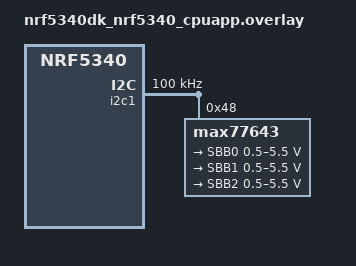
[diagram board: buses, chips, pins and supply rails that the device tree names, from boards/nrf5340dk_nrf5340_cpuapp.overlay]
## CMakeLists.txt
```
# SPDX-License-Identifier: Apache-2.0

cmake_minimum_required(VERSION 3.20.0)

find_package(Zephyr REQUIRED HINTS $ENV{ZEPHYR_BASE})
project(hello_world_1)

target_sources(app PRIVATE 
    src/max77643.c
    src/main.c
)




target_include_directories(app PRIVATE
    src
    ${ZEPHYR_BASE}/include
    ${ZEPHYR_BASE}/drivers
)

zephyr_library_include_directories(${ZEPHYR_BASE}/include)
zephyr_library_include_directories(${ZEPHYR_BASE}/drivers)
```

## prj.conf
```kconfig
# nothing here
CONFIG_I2C=y
CONFIG_PRINTK=y
CONFIG_LOG=y
CONFIG_LOG_DEFAULT_LEVEL=3
CONFIG_SERIAL=y
CONFIG_CBPRINTF_FP_SUPPORT=y
```

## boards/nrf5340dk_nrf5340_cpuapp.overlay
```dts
&i2c1 {
    status = "okay";
    compatible = "nordic,nrf-twim";
    clock-frequency = <I2C_BITRATE_STANDARD>;
    pinctrl-0 = <&i2c1_default>;
    pinctrl-1 = <&i2c1_sleep>;
    pinctrl-names = "default", "sleep";

    max77643: max77643@48 {
        reg = <0x48>;
        status = "okay";
        regulators {
            compatible = "adi,max77643-regulator";
            SBB0 {
                regulator-boot-on;
                regulator-min-microvolt = <500000>;   // 0.5V
                regulator-max-microvolt = <5500000>;  // 5.5V
            };
            SBB1 {
                regulator-boot-on;
                regulator-min-microvolt = <500000>;   // 0.5V
                regulator-max-microvolt = <5500000>;  // 5.5V
            };
            SBB2 {
                regulator-boot-on;
                regulator-min-microvolt = <500000>;   // 0.5V
                regulator-max-microvolt = <5500000>;  // 5.5V
            };
        };
    };
};
```

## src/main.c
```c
#include <zephyr/kernel.h>
#include <zephyr/device.h>
#include <zephyr/drivers/i2c.h>
#include "max77643.h"

// 从设备树获取I2C配置
#define MAX77643_NODE DT_NODELABEL(max77643)
static const struct i2c_dt_spec dev_max77643 = I2C_DT_SPEC_GET(MAX77643_NODE);

int main(void) {
    max77643_t device;  // MAX77643设备结构体
    int ret;            // 返回值，用于错误检查

    // 初始化MAX77643设备
    while(true){
        ret = max77643_init(&device, &dev_max77643, 0);  // 0表示不使用中断引脚
        if (ret != MAX77643_NO_ERROR) {
            printk("MAX77643初始化失败: %d\n", ret);
            return ret;
        }
        printk("MAX77643 initialized successfully\n");
        // 设置SBB0电压为3V
        ret = max77643_set_tv_sbb(&device, 0, 1.5f);  // 通道0，电压3.0V
        if (ret == MAX77643_NO_ERROR) {
            printk("SBB0电压已设置为3.0V\n");
            break;
        } else {
            printk("set SBB0 output 3V failure: %d\n", ret);
        }
        k_sleep(K_MSEC(100));
    }
    printk("SBB0 set successfully\n");
    return 0;
}
```

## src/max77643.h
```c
#ifndef MAX77643_H
#define MAX77643_H

#include <zephyr/device.h>
#include <zephyr/drivers/i2c.h>
#include <stdint.h>

// 错误码定义
#define MAX77643_NO_ERROR          0
#define MAX77643_VALUE_NULL       -1
#define MAX77643_WRITE_DATA_FAILED -2
#define MAX77643_READ_DATA_FAILED  -3
#define MAX77643_INVALID_DATA     -4

// I2C 地址
#define MAX77643_I2C_ADDRESS       0x90

// 设备结构体
typedef struct {
    const struct i2c_dt_spec *i2c_spec;  // I2C 设备规范
    uint32_t irq_pin;                    // 中断引脚（可选）
} max77643_t;

// 寄存器地址枚举（从 MAX77643_2.h 转换）
typedef enum {
    INT_GLBL0     = 0x00,  // 中断状态 0
    INT_GLBL1     = 0x01,  // 中断状态 1
    ERCFLAG       = 0x02,  // 事件记录标志
    STAT_GLBL     = 0x03,  // 全局状态
    INTM_GLBL0    = 0x04,  // 中断掩码 0
    INTM_GLBL1    = 0x05,  // 中断掩码 1
    CNFG_GLBL0    = 0x06,  // 全局配置 0
    CNFG_GLBL1    = 0x07,  // 全局配置 1
    CNFG_GPIO0    = 0x08,  // GPIO0 配置
    CNFG_GPIO1    = 0x09,  // GPIO1 配置
    CID           = 0x10,  // 芯片识别码
    CNFG_WDT      = 0x17,  // 看门狗定时器配置
    CNFG_SBB_TOP  = 0x28,  // SIMO Buck-Boost 配置
    CNFG_SBB0_A   = 0x29,  // SIMO Buck-Boost 0 配置 A
    CNFG_SBB0_B   = 0x2A,  // SIMO Buck-Boost 0 配置 B
    CNFG_SBB1_A   = 0x2B,  // SIMO Buck-Boost 1 配置 A
    CNFG_SBB1_B   = 0x2C,  // SIMO Buck-Boost 1 配置 B
    CNFG_SBB2_A   = 0x2D,  // SIMO Buck-Boost 2 配置 A
    CNFG_SBB2_B   = 0x2E,  // SIMO Buck-Boost 2 配置 B
    CNFG_DVS_SBB0_A = 0x2F,// SIMO Buck-Boost 0 DVS 配置 A
    CNFG_LDO0_A   = 0x38,  // LDO0 输出电压
    CNFG_LDO0_B   = 0x39   // LDO0 输出电压配置
} max77643_reg_t;

// 从 MAX77643_2.h 转换的枚举类型
typedef enum {
    INT_GLBL0_GPI0_F, INT_GLBL0_GPI0_R, INT_GLBL0_NEN_F, INT_GLBL0_NEN_R,
    INT_GLBL0_TJAL1_R, INT_GLBL0_TJAL2_R, INT_GLBL0_DOD_R, INT_GLBL0_RSVD,
    INT_GLBL1_GPI1_F, INT_GLBL1_GPI1_R, INT_GLBL1_SBB0_F, INT_GLBL1_SBB1_F,
    INT_GLBL1_SBB2_F, INT_GLBL1_LDO_F, INT_GLBL1_RSVD, INT_CHG_END
} reg_bit_int_glbl_t;

typedef enum {
    ERCFLAG_TOVLD, ERCFLAG_INOVLO, ERCFLAG_INUVLO, ERCFLAG_MRST_F,
    ERCFLAG_SFT_OFF_F, ERCFLAG_SFT_CRST_F, ERCFLAG_WDT_EXP_F, ERCFLAG_SBB_FAULT_F
} reg_bit_ercflag_t;

typedef enum {
    STAT_GLBL_STAT_IRQ, STAT_GLBL_STAT_EN, STAT_GLBL_TJAL1_S, STAT_GLBL_TJAL2_S,
    STAT_GLBL_DOD_S, STAT_GLBL_RSVD, STAT_GLBL_BOK, STAT_GLBL_DIDM
} reg_bit_stat_glbl_t;

typedef enum {
    INTM_GLBL0_GPI0_FM, INTM_GLBL0_GPI0_RM, INTM_GLBL0_nEN_FM, INTM_GLBL0_nEN_RM,
    INTM_GLBL0_TJAL1_RM, INTM_GLBL0_TJAL2_RM, INTM_GLBL0_DOD_RM, INTM_GLBL0_RSVD,
    INTM_GLBL1_GPI1_FM, INTM_GLBL1_GPI1_RM, INTM_GLBL1_SBB0_FM, INTM_GLBL1_SBB1_FM,
    INTM_GLBL1_SBB2_FM, INTM_GLBL1_LDO_M, INTM_GLBL1_RSVD, INTM_NUM_OF_BIT
} reg_bit_int_mask_t;

typedef enum {
    CNFG_GLBL0_SFT_CTRL, CNFG_GLBL0_DBEN_nEN, CNFG_GLBL0_nEN_MODE,
    CNFG_GLBL0_SBIA_LPM, CNFG_GLBL0_T_MRST, CNFG_GLBL0_PU_DIS
} reg_bit_cnfg_glbl0_t;

typedef enum {
    CNFG_GLBL1_AUTO_WKT, CNFG_GLBL1_SBB_F_SHUTDN, CNFG_GLBL1_RSVD
} reg_bit_cnfg_glbl1_t;

typedef enum {
    CNFG_GPIO_DIR, CNFG_GPIO_DI, CNFG_GPIO_DRV, CNFG_GPIO_DO,
    CNFG_GPIO_DBEN_GPI, CNFG_GPIO_ALT_GPIO, CNFG_GPIO_RSVD
} reg_bit_cnfg_gpio_t;

typedef enum {
    CNFG_WDT_WDT_LOCK, CNFG_WDT_WDT_EN, CNFG_WDT_WDT_CLR,
    CNFG_WDT_WDT_MODE, CNFG_WDT_WDT_PER, CNFG_WDT_RSVD
} reg_bit_cnfg_wdt_t;

typedef enum {
    CNFG_SBB_TOP_DRV_SBB, CNFG_SBB_TOP_DIS_LPM
} reg_bit_cnfg_sbb_top_t;

typedef enum {
    OP_MODE_AUTOMATIC, OP_MODE_BUCK_MODE, OP_MODE_BOOST_MODE, OP_MODE_BUCK_BOOST_MODE
} decode_op_mode_t;

typedef enum {
    IP_SBB_AMP_1_000A, IP_SBB_AMP_0_750A, IP_SBB_AMP_0_500A, IP_SBB_AMP_0_333A
} decode_ip_sbb_t;

typedef enum {
    ADE_SBB_DISABLED, ADE_SBB_ENABLED
} decode_ade_sbb_t;

typedef enum {
    EN_SBB_FPS_SLOT_0, EN_SBB_FPS_SLOT_1, EN_SBB_FPS_SLOT_2, EN_SBB_FPS_SLOT_3,
    EN_SBB_OFF, EN_SBB_SAME_AS_0X04, EN_SBB_ON, EN_SBB_SAME_AS_0X06
} decode_en_sbb_t;

typedef enum {
    TV_OFS_LDO_NO_OFFSET, TV_OFS_LDO_NO_1_325V
} decode_tv_ofs_ldo_t;

typedef enum {
    EN_LDO_FPS_SLOT_0, EN_LDO_FPS_SLOT_1, EN_LDO_FPS_SLOT_2, EN_LDO_FPS_SLOT_3,
    EN_LDO_OFF, EN_LDO_SAME_AS_0X04, EN_LDO_ON, EN_LDO_SAME_AS_0X06
} decode_en_ldo_t;

typedef enum {
    ADE_LDO_DISABLED, ADE_LDO_ENABLED
} decode_ade_ldo_t;

typedef enum {
    LDO_MD_LDO_MODE, LDO_MD_LSW_MODE
} decode_ldo_md_t;

// 函数声明
int max77643_init(max77643_t *obj, const struct i2c_dt_spec *i2c_spec, uint32_t irq_pin);
int max77643_read_register(max77643_t *obj, uint8_t reg, uint8_t *value);
int max77643_write_register(max77643_t *obj, uint8_t reg, const uint8_t *value);

int max77643_get_ercflag(max77643_t *obj, reg_bit_ercflag_t bit_field, uint8_t *flag);
int max77643_get_stat_glbl(max77643_t *obj, reg_bit_stat_glbl_t bit_field, uint8_t *status);
int max77643_set_interrupt_mask(max77643_t *obj, reg_bit_int_mask_t bit_field, uint8_t maskBit);
int max77643_get_interrupt_mask(max77643_t *obj, reg_bit_int_mask_t bit_field, uint8_t *maskBit);
int max77643_set_cnfg_glbl0(max77643_t *obj, reg_bit_cnfg_glbl0_t bit_field, uint8_t config);
int max77643_get_cnfg_glbl0(max77643_t *obj, reg_bit_cnfg_glbl0_t bit_field, uint8_t *config);
int max77643_set_cnfg_glbl1(max77643_t *obj, reg_bit_cnfg_glbl1_t bit_field, uint8_t config);
int max77643_get_cnfg_glbl1(max77643_t *obj, reg_bit_cnfg_glbl1_t bit_field, uint8_t *config);
int max77643_set_cnfg_gpio(max77643_t *obj, reg_bit_cnfg_gpio_t bit_field, uint8_t channel, uint8_t config);
int max77643_get_cnfg_gpio(max77643_t *obj, reg_bit_cnfg_gpio_t bit_field, uint8_t channel, uint8_t *config);
int max77643_get_cid(max77643_t *obj);
int max77643_set_cnfg_wdt(max77643_t *obj, reg_bit_cnfg_wdt_t bit_field, uint8_t config);
int max77643_get_cnfg_wdt(max77643_t *obj, reg_bit_cnfg_wdt_t bit_field, uint8_t *config);
int max77643_set_cnfg_sbb_top(max77643_t *obj, reg_bit_cnfg_sbb_top_t bit_field, uint8_t config);
int max77643_get_cnfg_sbb_top(max77643_t *obj, reg_bit_cnfg_sbb_top_t bit_field, uint8_t *config);
int max77643_set_tv_sbb(max77643_t *obj, uint8_t channel, float voltV);
int max77643_get_tv_sbb(max77643_t *obj, uint8_t channel, float *voltV);
int max77643_set_op_mode(max77643_t *obj, uint8_t channel, decode_op_mode_t mode);
int max77643_get_op_mode(max77643_t *obj, uint8_t channel, decode_op_mode_t *mode);
int max77643_set_ip_sbb(max77643_t *obj, uint8_t channel, decode_ip_sbb_t ip_sbb);
int max77643_get_ip_sbb(max77643_t *obj, uint8_t channel, decode_ip_sbb_t *ip_sbb);
int max77643_set_ade_sbb(max77643_t *obj, uint8_t channel, decode_ade_sbb_t ade_sbb);
int max77643_get_ade_sbb(max77643_t *obj, uint8_t channel, decode_ade_sbb_t *ade_sbb);
int max77643_set_en_sbb(max77643_t *obj, uint8_t channel, decode_en_sbb_t en_sbb);
int max77643_get_en_sbb(max77643_t *obj, uint8_t channel, decode_en_sbb_t *en_sbb);
int max77643_set_tv_sbb_dvs(max77643_t *obj, float voltV);
int max77643_get_tv_sbb_dvs(max77643_t *obj, float *voltV);
int max77643_set_tv_ldo(max77643_t *obj, float voltV);
int max77643_get_tv_ldo(max77643_t *obj, float *voltV);
int max77643_set_tv_ofs_ldo(max77643_t *obj, decode_tv_ofs_ldo_t offset);
int max77643_get_tv_ofs_ldo(max77643_t *obj, decode_tv_ofs_ldo_t *offset);
int max77643_set_en_ldo(max77643_t *obj, decode_en_ldo_t en_ldo);
int max77643_get_en_ldo(max77643_t *obj, decode_en_ldo_t *en_ldo);
int max77643_set_ade_ldo(max77643_t *obj, decode_ade_ldo_t ade_ldo);
int max77643_get_ade_ldo(max77643_t *obj, decode_ade_ldo_t *ade_ldo);
int max77643_set_ldo_md(max77643_t *obj, decode_ldo_md_t mode);
int max77643_get_ldo_md(max77643_t *obj, decode_ldo_md_t *mode);
int max77643_irq_disable_all(max77643_t *obj);

#endif // MAX77643_H
```
